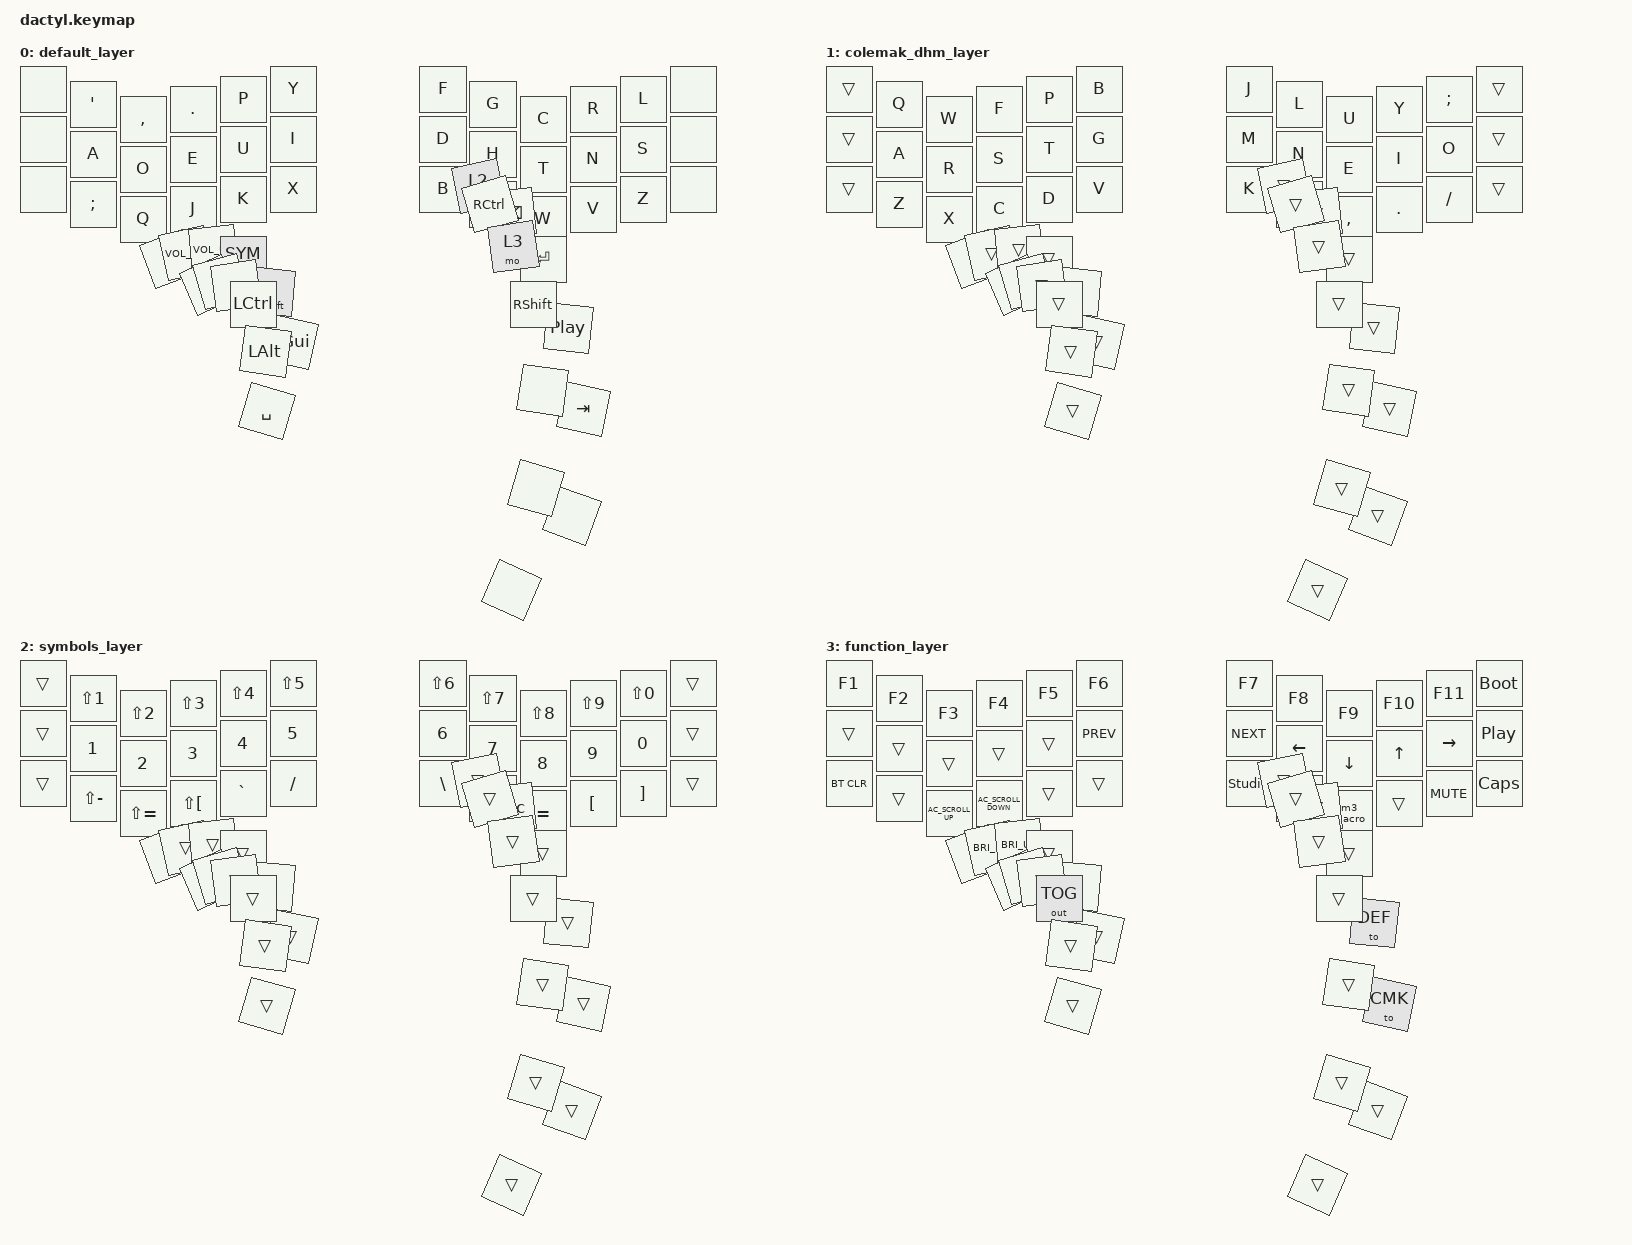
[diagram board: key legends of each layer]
#include <behaviors.dtsi>
#include <dt-bindings/zmk/bt.h>
#include <dt-bindings/zmk/keys.h>
#include <dt-bindings/zmk/outputs.h>
#include <physical_layouts.dtsi>

/ {
        chosen {
            zmk,physical-layout = &studio_layout;
        };
        studio_layout: studio_layout {
        compatible = "zmk,physical-layout";
        display-name = "LAYOUT";

        kscan = <&kscan0>;
        transform = <&default_transform>;

        keys  //                     w   h    x    y     rot    rx    ry
            = <&key_physical_attrs 100 100    0    0       0     0     0>
            , <&key_physical_attrs 100 100  100   30       0     0     0>
            , <&key_physical_attrs 100 100  200   60       0     0     0>
            , <&key_physical_attrs 100 100  300   40       0     0     0>
            , <&key_physical_attrs 100 100  400   20       0     0     0>
            , <&key_physical_attrs 100 100  500    0       0     0     0>
            , <&key_physical_attrs 100 100  800    0       0     0     0>
            , <&key_physical_attrs 100 100  900   30       0     0     0>
            , <&key_physical_attrs 100 100 1000   60       0     0     0>
            , <&key_physical_attrs 100 100 1100   40       0     0     0>
            , <&key_physical_attrs 100 100 1200   20       0     0     0>
            , <&key_physical_attrs 100 100 1300    0       0     0     0>
            , <&key_physical_attrs 100 100    0  100       0     0     0>
            , <&key_physical_attrs 100 100  100  130       0     0     0>
            , <&key_physical_attrs 100 100  200  160       0     0     0>
            , <&key_physical_attrs 100 100  300  140       0     0     0>
            , <&key_physical_attrs 100 100  400  120       0     0     0>
            , <&key_physical_attrs 100 100  500  100       0     0     0>
            , <&key_physical_attrs 100 100  800  100       0     0     0>
            , <&key_physical_attrs 100 100  900  130       0     0     0>
            , <&key_physical_attrs 100 100 1000  160       0     0     0>
            , <&key_physical_attrs 100 100 1100  140       0     0     0>
            , <&key_physical_attrs 100 100 1200  120       0     0     0>
            , <&key_physical_attrs 100 100 1300  100       0     0     0>
            , <&key_physical_attrs 100 100    0  200       0     0     0>
            , <&key_physical_attrs 100 100  100  230       0     0     0>
            , <&key_physical_attrs 100 100  200  260       0     0     0>
            , <&key_physical_attrs 100 100  300  240       0     0     0>
            , <&key_physical_attrs 100 100  400  220       0     0     0>
            , <&key_physical_attrs 100 100  500  200       0     0     0>
            , <&key_physical_attrs 100 100  800  200       0     0     0>
            , <&key_physical_attrs 100 100  900  230       0     0     0>
            , <&key_physical_attrs 100 100 1000  260       0     0     0>
            , <&key_physical_attrs 100 100 1100  240       0     0     0>
            , <&key_physical_attrs 100 100 1200  220       0     0     0>
            , <&key_physical_attrs 100 100 1300  200       0     0     0>
            , <&key_physical_attrs 100 100  100  420 (-2000)     0     0>
            , <&key_physical_attrs 100 100  200  390 (-1200)     0     0>
            , <&key_physical_attrs 100 100  300  360  (-600)     0     0>
            , <&key_physical_attrs 100 100  400  340       0     0     0>
            , <&key_physical_attrs 100 100  500  350     600     0     0>
            , <&key_physical_attrs 100 100  600  380    1200     0     0>
            , <&key_physical_attrs 100 100  800  380 (-1200)     0     0>
            , <&key_physical_attrs 100 100  900  350  (-600)     0     0>
            , <&key_physical_attrs 100 100 1000  340       0     0     0>
            , <&key_physical_attrs 100 100 1100  360     600     0     0>
            , <&key_physical_attrs 100 100 1200  390    1200     0     0>
            , <&key_physical_attrs 100 100 1300  420    2000     0     0>
            , <&key_physical_attrs 100 100  120  510 (-2400)     0     0>
            , <&key_physical_attrs 100 100  220  480 (-1600)     0     0>
            , <&key_physical_attrs 100 100  320  450  (-800)     0     0>
            , <&key_physical_attrs 100 100  420  430       0     0     0>
            , <&key_physical_attrs 100 100  520  450     800     0     0>
            , <&key_physical_attrs 100 100  620  480    1600     0     0>
            , <&key_physical_attrs 100 100  780  480 (-1600)     0     0>
            , <&key_physical_attrs 100 100  880  450  (-800)     0     0>
            , <&key_physical_attrs 100 100  980  430       0     0     0>
            , <&key_physical_attrs 100 100 1080  450     800     0     0>
            , <&key_physical_attrs 100 100 1180  480    1600     0     0>
            , <&key_physical_attrs 100 100 1280  510    2400     0     0>
            ;
    };
};


#define DEF 0
#define CMK 1
#define SYM 2
#define FUN 3

&mt { tapping-term-ms = <150>; flavor = "hold-preferred"; require-prior-idle-ms = <150>; };

/ {
    behaviors {
        m1_macro: macro_ctrl_l {
            compatible = "zmk,behavior-macro";
            #binding-cells = <0>;
            bindings =
                <&macro_press>,
                <&kp LCTRL>,
                <&macro_tap>,
                <&kp L>,
                <&macro_release>,
                <&kp LCTRL>;
        };

        m2_macro: macro_ctrl_h {
            compatible = "zmk,behavior-macro";
            #binding-cells = <0>;
            bindings =
                <&macro_press>,
                <&kp LCTRL>,
                <&macro_tap>,
                <&kp H>,
                <&macro_release>,
                <&kp LCTRL>;
        };

        m3_macro: macro_sleep {
            compatible = "zmk,behavior-macro";
            #binding-cells = <0>;
            bindings =
                <&macro_press>,
                <&kp LALT>,
                <&macro_press>,
                <&kp LSHIFT>,
                <&macro_tap>,
                <&kp Z>,
                <&macro_release>,
                <&kp LALT>,
                <&macro_release>,
                <&kp LSHIFT>;
        };
    };

    macros {
    };

    keymap {
        compatible = "zmk,keymap";

        default_layer {
            bindings = <
&none  &kp SQT       &kp COMMA     &kp DOT    &kp P                 &kp Y      &kp F      &kp G     &kp C            &kp R             &kp L    &none
&none  &kp A         &kp O         &kp E      &kp U                 &kp I      &kp D      &kp H     &kp T            &kp N             &kp S    &none
&none  &kp SEMI      &kp Q         &kp J      &kp K                 &kp X      &kp B      &kp M     &kp W            &kp V             &kp Z    &none
&none  &kp C_VOL_DN  &kp C_VOL_UP  &mo SYM    &mt LEFT_SHIFT SPACE  &kp LGUI   &mo 2      &kp BSPC  &kp RET          &kp C_PLAY_PAUSE  &kp TAB  &none
&none  &none         &none         &kp LCTRL  &kp LALT              &kp SPACE  &kp RCTRL  &mo 3     &kp RIGHT_SHIFT  &none             &none    &none
            >;
        };

        colemak_dhm_layer {
            bindings = <
&trans  &kp Q   &kp W   &kp F   &kp P   &kp B   &kp J   &kp L   &kp U      &kp Y    &kp SEMI   &trans
&trans  &kp A   &kp R   &kp S   &kp T   &kp G   &kp M   &kp N   &kp E      &kp I    &kp O      &trans
&trans  &kp Z   &kp X   &kp C   &kp D   &kp V   &kp K   &kp H   &kp COMMA  &kp DOT  &kp SLASH  &trans
&trans  &trans  &trans  &trans  &trans  &trans  &trans  &trans  &trans     &trans   &trans     &trans
&trans  &trans  &trans  &trans  &trans  &trans  &trans  &trans  &trans     &trans   &trans     &trans
            >;
        };

        symbols_layer {
            bindings = <
&trans  &kp LS(N1)     &kp LS(N2)     &kp LS(N3)    &kp LS(N4)  &kp LS(N5)  &kp LS(N6)  &kp LS(N7)  &kp LS(N8)  &kp LS(N9)  &kp LS(N0)  &trans
&trans  &kp N1         &kp N2         &kp N3        &kp N4      &kp N5      &kp N6      &kp N7      &kp N8      &kp N9      &kp N0      &trans
&trans  &kp LS(MINUS)  &kp LS(EQUAL)  &kp LS(LBKT)  &kp GRAVE   &kp SLASH   &kp BSLH    &kp MINUS   &kp EQUAL   &kp LBKT    &kp RBKT    &trans
&trans  &trans         &trans         &trans        &trans      &trans      &trans      &kp ESCAPE  &trans      &trans      &trans      &trans
&trans  &trans         &trans         &trans        &trans      &trans      &trans      &trans      &trans      &trans      &trans      &trans
            >;
        };

        function_layer {
            bindings = <
&kp F1      &kp F2        &kp F3              &kp F4                &kp F5  &kp F6      &kp F7          &kp F8    &kp F9     &kp F10  &kp F11     &bootloader
&trans      &trans        &trans              &trans                &trans  &kp C_PREV  &kp C_NEXT      &kp LEFT  &kp DOWN   &kp UP   &kp RIGHT   &kp C_PP
&bt BT_CLR  &trans        &kp C_AC_SCROLL_UP  &kp C_AC_SCROLL_DOWN  &trans  &trans      &studio_unlock  &trans    &m3_macro  &trans   &kp C_MUTE  &kp CAPS
&trans      &kp C_BRI_DN  &kp C_BRI_UP        &trans                &trans  &trans      &trans          &trans    &trans     &to DEF  &to CMK     &trans
&trans      &trans        &trans              &out OUT_TOG          &trans  &trans      &trans          &trans    &trans     &trans   &trans      &trans
            >;
        };
    };
};

